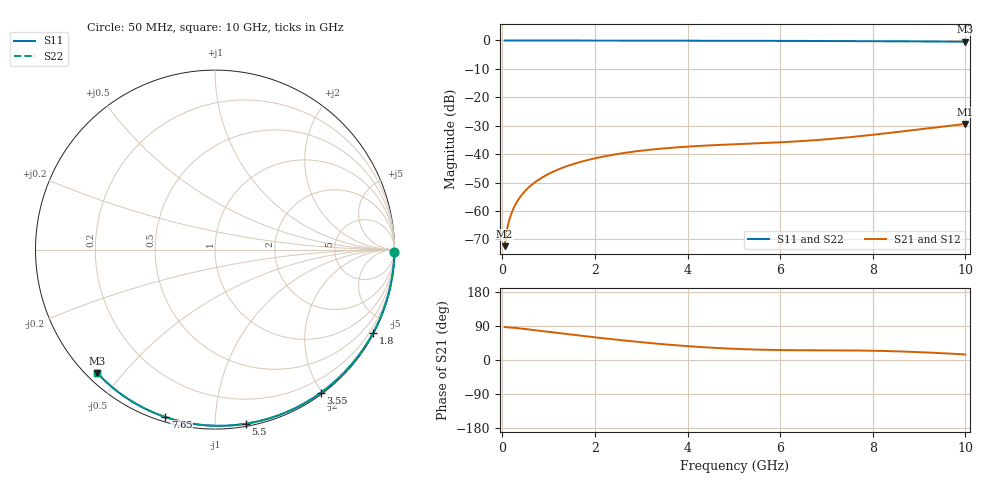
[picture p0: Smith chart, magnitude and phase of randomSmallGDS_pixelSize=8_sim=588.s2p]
! freq	dB(S11)	phase(S11)	dB(S12)	phase(S12)
!  dB(S21)	phase(S21)	dB(S22)	phase(S22)
!S-par simulation data
#  GHz  S  DB  R 50
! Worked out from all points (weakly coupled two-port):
!   200 points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, 50 MHz to 10 GHz, reference 50 ohm
!   highest |S21| = -29.37 dB at 10 GHz (marker M1); lowest = -72.4 dB at 50 MHz (marker M2)
!   lowest |S11| = -0.4 dB at 10 GHz (marker M3), VSWR 39.24, Z = 1.51 - j21.4 ohm
!   |S11| at or under -10 dB: nowhere
!   |S22| runs from -0.4 to 0.0 dB; largest |S21 - S12| = 0
!   S11 on the Smith chart (normalised r, x): 50 MHz: open; 1.8 GHz: 0.04, -4.05; 3.55 GHz: 0.02, -1.99; 5.5 GHz: 0.02, -1.19; 7.65 GHz: 0.02, -0.75; 10 GHz: 0.03, -0.43
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0.05  -0.00 -0.8  -72.37 87.1  -72.37 87.1  -0.00 -0.8
0.1  -0.00 -1.6  -66.57 86.4  -66.57 86.4  -0.00 -1.6
0.15  -0.00 -2.4  -63.14 86.0  -63.14 86.0  -0.00 -2.4
0.2  -0.00 -3.1  -60.69 85.6  -60.69 85.6  -0.00 -3.1
0.25  -0.00 -3.9  -58.78 85.0  -58.78 85.0  -0.00 -3.9
0.35  -0.00 -5.5  -55.89 83.8  -55.89 83.8  -0.00 -5.5
0.5  -0.01 -7.8  -52.83 81.7  -52.83 81.7  -0.01 -7.8
0.7  -0.01 -10.9  -49.95 78.8  -49.95 78.8  -0.01 -10.9
1  -0.02 -15.5  -46.95 74.3  -46.95 74.3  -0.02 -15.5
1.35  -0.03 -20.9  -44.49 69.2  -44.49 69.2  -0.03 -20.9
1.75  -0.03 -27.0  -42.46 63.4  -42.46 63.4  -0.03 -27.0
1.8  -0.04 -27.7  -42.24 62.7  -42.24 62.7  -0.04 -27.7
2.5  -0.05 -38.2  -39.91 53.2  -39.91 53.2  -0.05 -38.2
3.4  -0.07 -51.3  -38.10 42.4  -38.10 42.4  -0.07 -51.3
3.55  -0.07 -53.4  -37.88 40.9  -37.88 40.9  -0.07 -53.4
4.3  -0.09 -63.9  -37.06 34.0  -37.06 34.0  -0.09 -63.9
5.05  -0.11 -74.0  -36.49 29.3  -36.49 29.3  -0.11 -74.0
5.5  -0.13 -79.9  -36.19 27.5  -36.19 27.5  -0.13 -79.9
6.7  -0.18 -95.1  -35.14 25.7  -35.14 25.7  -0.18 -95.1
7.65  -0.24 -106.5  -33.79 25.1  -33.79 25.1  -0.24 -106.5
8.35  -0.29 -114.8  -32.54 23.5  -32.54 23.5  -0.29 -114.8
10  -0.44 -133.6  -29.37 14.6  -29.37 14.6  -0.44 -133.6
